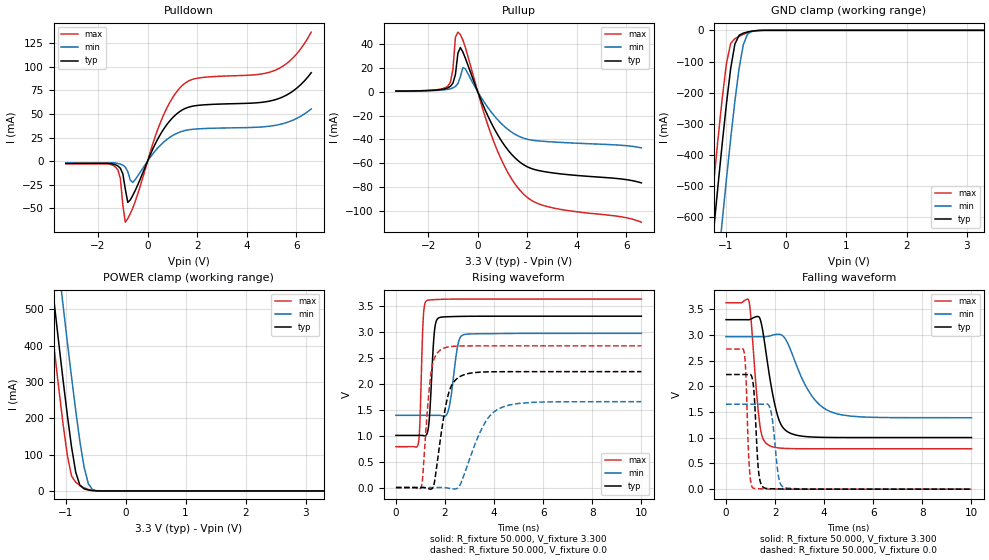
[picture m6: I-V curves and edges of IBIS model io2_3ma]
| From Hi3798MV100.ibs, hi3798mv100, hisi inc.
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|   Model io2_3ma
[Model] io2_3ma
Model_type I/O
Enable   Active-Low
C_comp   2.258pF   2.004pF   2.361pF
C_comp_pullup   1.096pF   1.002pF   1.100pF
C_comp_pulldown   1.044pF   0.921pF   1.117pF
[Temperature Range]   25.000   0.125k   -40.000
[Voltage Range]   3.300V   2.970V   3.630V
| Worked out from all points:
|   slope of the pulldown table from 0 to 0.495 V, typ, clamps not added: 18 ohm
|   slope of the pullup table from 0 to 0.495 V, typ, clamps not added: 20.6 ohm
|   GND clamp passes 1 mA (typ) near -0.49 V on its own axis
|   POWER clamp passes 1 mA (typ) near -0.56 V on its own axis
|   rising waveform, R_fixture 50.000, V_fixture 3.300: 20-80 % time 157ps typ, 259ps min, 109ps max; typ from 1 V to 3.3 V
|   rising waveform, R_fixture 50.000, V_fixture 0.0: 20-80 % time 456ps typ, 890ps min, 282ps max; typ from 0 V to 2.23 V
|   falling waveform, R_fixture 50.000, V_fixture 3.300: 20-80 % time 507ps typ, 1ns min, 293ps max; typ from 3.3 V to 1 V
|   falling waveform, R_fixture 50.000, V_fixture 0.0: 20-80 % time 152ps typ, 215ps min, 121ps max; typ from 2.23 V to 0 V
[Pulldown]
|Voltage   I(typ)   I(min)   I(max)
-3.3V     -2.525mA   -1.951mA   -2.803mA
-1.3V     -3.887mA   -2.059mA   -6.103mA
-1.1V     -7.597mA   -3.167mA   -18.21mA
-900mV    -29.75mA   -6.386mA   -64.85mA
-800mV    -43.85mA   -11.14mA   -60.97mA
-600mV    -36.55mA   -22.66mA   -49.96mA
500mV     27.66mA    16.47mA    39.9mA
1.3V      52.63mA    30.77mA    77.61mA
2V        59.02mA    34.13mA    87.9mA
5.2V      65.57mA    38.18mA    97.06mA
5.9V      75.01mA    43.89mA    110.5mA
6.6V      93.76mA    55.32mA    136.9mA
[Pullup]
|Voltage   I(typ)   I(min)   I(max)
-3.3V     530.2uA    488.2uA    537.5uA
-1.2V     3.282mA    2.015mA    4.86mA
-1V       7.164mA    3.184mA    18.79mA
-900mV    14.42mA    4.41mA     45.63mA
-800mV    32.24mA    6.859mA    49.94mA
-700mV    37.01mA    12.5mA     47.8mA
-500mV    28.14mA    19.19mA    37.16mA
700mV     -32.28mA   -21.01mA   -44.63mA
1.2V      -48.34mA   -31.26mA   -67.15mA
1.8V      -60.47mA   -38.56mA   -84.78mA
2.9V      -67.64mA   -41.91mA   -96.71mA
6.6V      -76.35mA   -47.01mA   -109.3mA
[GND_clamp]
|Voltage   I(typ)   I(min)   I(max)
-3.3V     -5.035A    -5.221A    -4.928A
-1.27V    -779.3mA   -1.032A    -628mA
-1.2V     -637.4mA   -889.7mA   -486.2mA
-1.06V    -363.3mA   -611.8mA   -218.3mA
-990mV    -235.7mA   -477.5mA   -106.1mA
-920mV    -122.9mA   -348.3mA   -42mA
-850mV    -44.09mA   -227.6mA   -26.86mA
-780mV    -15.91mA   -122.2mA   -19.3mA
-710mV    -8.986mA   -46.17mA   -12.83mA
-640mV    -5.255mA   -11.9mA    -7.541mA
-500mV    -1.071mA   -1.197mA   -1.326mA
3.28V     0A         0A         0A
[POWER_clamp]
|Voltage   I(typ)   I(min)   I(max)
-3.28V    3.761A     3.958A     3.644A
-1.32V    713.3mA    922.6mA    587.1mA
-1.25V    608.6mA    817.8mA    482.4mA
-1.18V    505mA      713.9mA    379.3mA
-1.04V    303.8mA    509.5mA    183mA
-970mV    208.7mA    410mA      97.77mA
-900mV    121.4mA    313.3mA    41.2mA
-830mV    51.45mA    220.9mA    23.76mA
-690mV    5.722mA    65.03mA    8.509mA
-620mV    2.454mA    19.72mA    4.239mA
-480mV    184.3uA    589.3uA    327.9uA
3.3V      0A         0A         0A
[Ramp]
| variable   typ   min   max
dV/dt_r   1.339/0.462n   0.993/0.903n   1.637/0.288n
dV/dt_f   1.377/0.509n   0.948/1.009n   1.706/0.297n
R_load = 50.000
[Rising Waveform]
R_fixture= 50.000
V_fixture= 3.300
V_fixture_min= 2.970
V_fixture_max= 3.630
|time   V(typ)   V(min)   V(max)
0s        1.005V     1.391V     786.4mV
913ps     1.005V     1.391V     849.3mV
1.118ns   1V         1.391V     3.294V
1.245ns   1.018V     1.391V     3.597V
1.368ns   1.371V     1.391V     3.613V
1.568ns   3.003V     1.39V      3.619V
1.744ns   3.269V     1.392V     3.623V
2.133ns   3.29V      1.479V     3.628V
2.753ns   3.297V     2.943V     3.63V
10ns      3.3V       2.97V      3.63V
[Rising Waveform]
R_fixture= 50.000
V_fixture= 0.0
V_fixture_min= 0.0
V_fixture_max= 0.0
|time   V(typ)   V(min)   V(max)
0s        0V         0V         0V
1.032ns   351uV      0V         13.26mV
1.431ns   -30.28mV   30.67uV    2.21V
1.57ns    104.4mV    -16.29uV   2.493V
1.856ns   1.08V      1.498mV    2.662V
2.126ns   1.78V      -11.09mV   2.707V
2.426ns   2.071V     -26.46mV   2.722V
3.583ns   2.225V     1.211V     2.729V
4.313ns   2.231V     1.543V     2.729V
10ns      2.232V     1.654V     2.729V
[Falling Waveform]
R_fixture= 50.000
V_fixture= 3.300
V_fixture_min= 2.970
V_fixture_max= 3.630
|time   V(typ)   V(min)   V(max)
0s        3.3V       2.97V      3.63V
925ps     3.299V     2.97V      3.676V
995ps     3.309V     2.97V      3.434V
1.386ns   3.314V     2.97V      1.223V
1.741ns   2.293V     2.979V     855.5mV
2.151ns   1.356V     3.015V     802.8mV
2.681ns   1.077V     2.647V     789.5mV
3.491ns   1.016V     1.819V     786.7mV
4.291ns   1.007V     1.502V     786.5mV
10ns      1.005V     1.391V     786.4mV
[Falling Waveform]
R_fixture= 50.000
V_fixture= 0.0
V_fixture_min= 0.0
V_fixture_max= 0.0
|time   V(typ)   V(min)   V(max)
0s        2.232V     1.654V     2.729V
734ps     2.232V     1.654V     2.673V
943ps     2.237V     1.655V     468.7mV
1.103ns   2.058V     1.655V     22.47mV
1.323ns   355.9mV    1.655V     8.433mV
1.543ns   27.45mV    1.656V     5.124mV
1.824ns   8.705mV    1.524V     2.564mV
2.132ns   4.941mV    261.6mV    1.083mV
2.34ns    3.374mV    37.92mV    584.7uV
10ns      0V         698.8nV    0V
